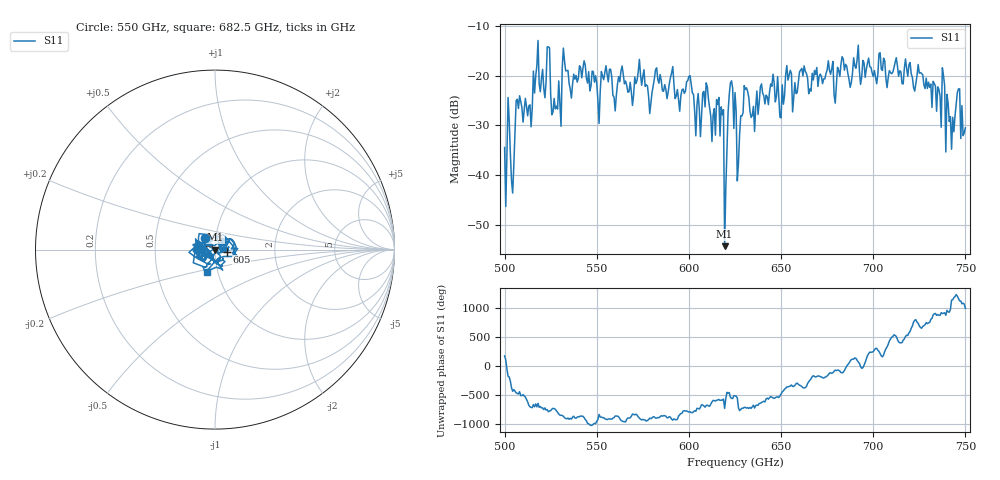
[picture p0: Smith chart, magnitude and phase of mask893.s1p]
!Created with skrf (http://scikit-rf.org).
# GHz S MA R 50.0
!freq magS11 angS11
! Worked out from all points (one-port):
!   401 points, 500 GHz to 750 GHz, reference 50 ohm
!   lowest |S11| = -54.3 dB at 619.4 GHz (marker M1), VSWR 1.00, Z = 50.2 - j0.0273 ohm
!   |S11| at or under -10 dB: start of sweep to end of sweep
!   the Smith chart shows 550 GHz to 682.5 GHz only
!   S11 on the Smith chart (normalised r, x): 550 GHz: 0.89, +0.11; 605 GHz: 1.14, -0.03; 682.5 GHz: 0.88, -0.22
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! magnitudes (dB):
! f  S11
! 500 GHz  -34.4
! 504.4 GHz  -43.6
! 507.5 GHz  -26.6
! 513.8 GHz  -25.9
! 516.9 GHz  -20.1
! 523.8 GHz  -14.2
! 526.9 GHz  -24.6
! 531.2 GHz  -18.6
! 550 GHz  -21.6
! 562.5 GHz  -21.2
! 593.8 GHz  -22.8
! 600 GHz  -20.1
! 605 GHz  -23.6
! 616.2 GHz  -24.4
! 619.4 GHz  -54.3
! 620.6 GHz  -35.2
! 622.5 GHz  -21.5
! 625 GHz  -23.4
! 627.5 GHz  -31.9
! 631.2 GHz  -22.4
! 634.4 GHz  -28.0
! 656.2 GHz  -27.3
! 682.5 GHz  -17.7
! 687.5 GHz  -22.3
! 718.8 GHz  -20.1
! 742.5 GHz  -34.8
! 745.6 GHz  -23.4
! 750 GHz  -30.5
